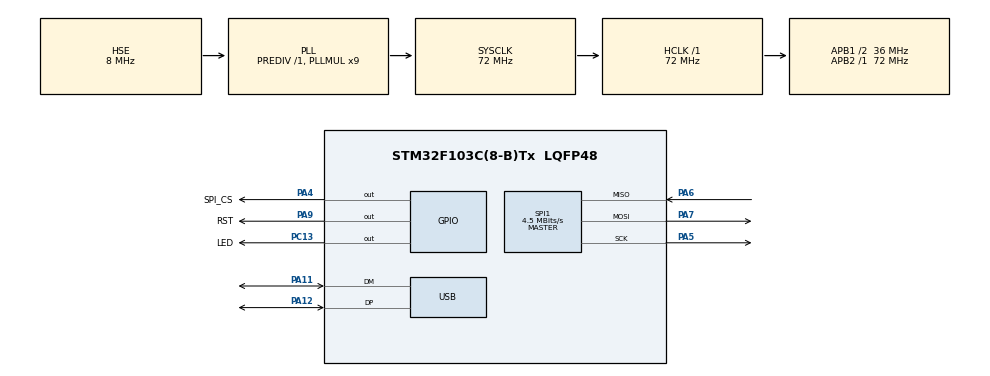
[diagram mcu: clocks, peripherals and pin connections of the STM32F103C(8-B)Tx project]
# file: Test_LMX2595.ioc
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Mcu.Family=STM32F1
Mcu.Name=STM32F103C(8-B)Tx
Mcu.Package=LQFP48
NVIC.PriorityGroup=NVIC_PRIORITYGROUP_4
NVIC.USB_HP_CAN1_TX_IRQn=true\:0\:0\:false\:false\:true\:true\:true\:true
NVIC.USB_LP_CAN1_RX0_IRQn=true\:0\:0\:false\:false\:true\:false\:true\:true
PA11.Mode=Device
PA11.Signal=USB_DM
PA12.Mode=Device
PA12.Signal=USB_DP
PA13.Mode=Serial_Wire
PA13.Signal=SYS_JTMS-SWDIO
PA14.Mode=Serial_Wire
PA14.Signal=SYS_JTCK-SWCLK
PA4.GPIO_Label=SPI_CS
PA4.GPIO_Speed=GPIO_SPEED_FREQ_MEDIUM
PA4.Signal=GPIO_Output
PA5.Mode=Full_Duplex_Master
PA5.Signal=SPI1_SCK
PA6.Mode=Full_Duplex_Master
PA6.Signal=SPI1_MISO
PA7.Mode=Full_Duplex_Master
PA7.Signal=SPI1_MOSI
PA9.GPIO_Label=RST
PA9.GPIO_ModeDefaultOutputPP=GPIO_MODE_OUTPUT_OD
PA9.GPIO_PuPd=GPIO_NOPULL
PA9.Signal=GPIO_Output
PC13-TAMPER-RTC.GPIO_Label=LED
PC13-TAMPER-RTC.Signal=GPIO_Output
PD0-OSC_IN.Mode=HSE-External-Oscillator
PD0-OSC_IN.Signal=RCC_OSC_IN
PD1-OSC_OUT.Mode=HSE-External-Oscillator
PD1-OSC_OUT.Signal=RCC_OSC_OUT
ProjectManager.HeapSize=0x200
ProjectManager.StackSize=0x400
ProjectManager.TargetToolchain=STM32CubeIDE
RCC.AHBFreq_Value=72000000
RCC.APB1CLKDivider=RCC_HCLK_DIV2
RCC.APB1Freq_Value=36000000
RCC.APB1TimFreq_Value=72000000
RCC.APB2Freq_Value=72000000
RCC.APB2TimFreq_Value=72000000
RCC.HCLKFreq_Value=72000000
RCC.PLLMUL=RCC_PLL_MUL9
RCC.SYSCLKFreq_VALUE=72000000
RCC.SYSCLKSource=RCC_SYSCLKSOURCE_PLLCLK
RCC.USBFreq_Value=48000000
RCC.USBPrescaler=RCC_USBCLKSOURCE_PLL_DIV1_5
SPI1.BaudRatePrescaler=SPI_BAUDRATEPRESCALER_16
SPI1.CalculateBaudRate=4.5 MBits/s
SPI1.Direction=SPI_DIRECTION_2LINES
SPI1.Mode=SPI_MODE_MASTER
SPI1.VirtualType=VM_MASTER
USB_DEVICE.CLASS_NAME_FS=CDC
USB_DEVICE.VirtualMode=Cdc
USB_DEVICE.VirtualModeFS=Cdc_FS
VP_USB_DEVICE_VS_USB_DEVICE_CDC_FS.Mode=CDC_FS
board=custom

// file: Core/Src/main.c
/* USER CODE BEGIN Header */
/**
  ******************************************************************************
  * @file           : main.c
  * @brief          : Main program body
  ******************************************************************************
  * @attention
  *
  * <h2><center>&copy; Copyright (c) 2023 STMicroelectronics.
  * All rights reserved.</center></h2>
  *
  * This software component is licensed by ST under BSD 3-Clause license,
  * the "License"; You may not use this file except in compliance with the
  * License. You may obtain a copy of the License at:
  *                        opensource.org/licenses/BSD-3-Clause
  *
  ******************************************************************************
  */
/* USER CODE END Header */
#include "main.h"
#include "usb_device.h"

/* USER CODE BEGIN Includes */
#include <stdlib.h>
#include "usbd_cdc.h"
#include "string.h"
/* USER CODE END Includes */

SPI_HandleTypeDef hspi1;

/* USER CODE BEGIN PV */
uint32_t TX_Data[113] = {
		0x4E0003,   // R78
		0x4D0000,   // R77
		0x4C000C,   // R76
		0x4B0840,   // R75
		0x4A0000,   // R74
		0x49003F,   // R73
		0x480001,   // R72
		0x470081,   // R71
		0x46C350,   // R70
		0x450000,   // R69
		0x4403E8,   // R68
		0x430000,   // R67
		0x4201F4,   // R66
		0x410000,   // R65
		0x401388,   // R64
		0x3F0000,   // R63
		0x3E0322,   // R62
		0x3D00A8,   // R61
		0x3C0000,   // R60
		0x3B0001,   // R59
		0x3A9001,   // R58
		0x390020,   // R57
		0x380000,   // R56
		0x370000,   // R55
		0x360000,   // R54
		0x350000,   // R53
		0x340820,   // R52
		0x330080,   // R51
		0x320000,   // R50
		0x314180,   // R49
		0x300300,   // R48
		0x2F0300,   // R47
		0x2E07FC,   // R46
		0x2DC0DF,   // R45
		0x2C1FA3,   // R44
		0x2B0000,   // R43
		0x2A0000,   // R42
		0x290000,   // R41
		0x280000,   // R40
		0x2703E8,   // R39
		0x260000,   // R38
		0x250404,   // R37
		0x2400C8,   // R36
		0x230004,   // R35
		0x220000,   // R34
		0x211E21,   // R33
		0x200393,   // R32
		0x1F43EC,   // R31
		0x1E318C,   // R30
		0x1D318C,   // R29
		0x1C0488,   // R28
		0x1B0002,   // R27
		0x1A0DB0,   // R26
		0x190C2B,   // R25
		0x18071A,   // R24
		0x17007C,   // R23
		0x160001,   // R22
		0x150401,   // R21
		0x14F848,   // R20
		0x1327B7,   // R19
		0x120064,   // R18
		0x11012C,   // R17
		0x100080,   // R16
		0x0F064F,   // R15
		0x0E1E70,   // R14
		0x0D4000,   // R13
		0x0C5001,   // R12
		0x0B0018,   // R11
		0x0A10D8,   // R10
		0x091604,   // R9
		0x082000,   // R8
		0x0740B2,   // R7
		0x06C802,   // R6
		0x0500C8,   // R5
		0x040A43,   // R4
		0x030642,   // R3
		0x020500,   // R2
		0x010808,   // R1
		(0x00241C & (~4)),   // R0, but 3rd bit must be set to 0, if you want to read registers
};

uint8_t RX_USB_Flag = 0;
uint8_t RxBuffer[100];
/* USER CODE END PV */

void SystemClock_Config(void);
static void MX_GPIO_Init(void);
static void MX_SPI1_Init(void);
/* USER CODE BEGIN PFP */
void User_Delay(uint16_t timeout);
uint16_t LMX_read(uint8_t address);
void LMX_write(uint8_t address, uint16_t data);
/* USER CODE END PFP */

int main(void)
{

  /* MCU Configuration--------------------------------------------------------*/

  /* Reset of all peripherals, Initializes the Flash interface and the Systick. */
  HAL_Init();

  /* Configure the system clock */
  SystemClock_Config();

  /* Initialize all configured peripherals */
  MX_GPIO_Init();
  MX_SPI1_Init();
  MX_USB_DEVICE_Init();
  /* USER CODE BEGIN 2 */
  //HAL_ADCEx_Calibration_Start(&hadc1);
    HAL_GPIO_WritePin(SPI_CS_GPIO_Port, SPI_CS_Pin, GPIO_PIN_SET);			// Forbid communication; CS = 1
    // User_Delay(10);
    HAL_Delay(10);															// Wait 10 ms

    // Init LMX2595
    HAL_GPIO_WritePin(RST_GPIO_Port, RST_Pin, GPIO_PIN_RESET);
    User_Delay(10);
    HAL_GPIO_WritePin(RST_GPIO_Port, RST_Pin, GPIO_PIN_SET);
    User_Delay(10);

    LMX_write(0, 2); 														// Transmit RESET = 1
    HAL_Delay(200);															// Wait 200 ms
    uint16_t check = LMX_read(1);								// Check R0
    LMX_write(0, 0);														// Transmit RESET = 0

    // Initialization
    for(int i = 0; i <= 78; i++) {
    	LMX_write(78 - i, TX_Data[i]);		// Copy registers into LMX2595
    	HAL_Delay(10);					// You may decrease delay
    }
  /* USER CODE END 2 */

  /* Infinite loop */
  /* USER CODE BEGIN WHILE */
  while (1)
  {
	  // WRITE
	  if(RX_USB_Flag == 1) {					// Command received
		  if(RxBuffer[0] == 'R') {				// Check if command is correct
			  int i = 0;						// Cursor
			  int addr = 0;						// Address of the register
			  for(i = 1; ((RxBuffer[i] != '\t') && (RxBuffer[i] != ' ')); i++) {
				  addr *= 10;									// Next digit
				  addr += (int)(RxBuffer[i]) - (int)('0');		// Count digit
			  }
			  i++;												// Next char
			  if ((addr >= 0) && (addr < 113)) {				// Assert register
				  uint16_t data = (uint16_t)strtol((RxBuffer + i), NULL, 0);	// convert HEX-format string to uint16_t
				  LMX_write((uint8_t)addr, data);				// Send command to LMX2595
				  CDC_Transmit_FS("OK\n\r", 4);					// Send OK to the terminal
			  }
			  else {
				  CDC_Transmit_FS("Address isn't correct!\n\r", 24);
			  }
		  }
		  // READ
		  else if ((RxBuffer[0] == 'r') && (RxBuffer[1] == 'R')) {
			  int i = 0;						// Cursor
			  int addr = 0;						// Address of the register
			  for(int i = 2; ((RxBuffer[i] >= '0') && (RxBuffer[i] <= '9')); i++) {
				  addr *= 10;									// Next digit
				  addr += (int)(RxBuffer[i]) - (int)('0');		// Count digit
			  }
			  if ((addr >= 0) && (addr < 113)) {				// Assert register
				  uint16_t answer = LMX_read((uint8_t)addr);	// Send command to LMX2595
				  char string_answer[10];
				  itoa (answer, string_answer, 16);
	//			  CDC_Transmit_FS("0x", 2);										// print 0x
				  CDC_Transmit_FS(string_answer, strlen(string_answer));		// print HEX-format number
	//			  CDC_Transmit_FS("\n\r", 2);									// print terminal simbols
			  }
			  else {
				  CDC_Transmit_FS("Address isn't correct!\n\r", 24);
			  }
		  }
		  // ERROR, give the hint
		  else {
			  CDC_Transmit_FS("Input command in format:\nR...*tab*0x...\n", 40);
			  CDC_Transmit_FS("if you want to write HEX value to the register\n", 47);
			  CDC_Transmit_FS("or in format:\n", 14);
			  CDC_Transmit_FS("rR...\nif you want to read HEX value of the register R...\n", 58);
		  }
		  RX_USB_Flag = 0;						// Null the flag
	  }
  }
    /* USER CODE END WHILE */

}

void SystemClock_Config(void)
{
  RCC_OscInitTypeDef RCC_OscInitStruct = {0};
  RCC_ClkInitTypeDef RCC_ClkInitStruct = {0};
  RCC_PeriphCLKInitTypeDef PeriphClkInit = {0};

  /** Initializes the RCC Oscillators according to the specified parameters
  * in the RCC_OscInitTypeDef structure.
  */
  RCC_OscInitStruct.OscillatorType = RCC_OSCILLATORTYPE_HSE;
  RCC_OscInitStruct.HSEState = RCC_HSE_ON;
  RCC_OscInitStruct.HSEPredivValue = RCC_HSE_PREDIV_DIV1;
  RCC_OscInitStruct.HSIState = RCC_HSI_ON;
  RCC_OscInitStruct.PLL.PLLState = RCC_PLL_ON;
  RCC_OscInitStruct.PLL.PLLSource = RCC_PLLSOURCE_HSE;
  RCC_OscInitStruct.PLL.PLLMUL = RCC_PLL_MUL9;
  if (HAL_RCC_OscConfig(&RCC_OscInitStruct) != HAL_OK)
  {
    Error_Handler();
  }

  /** Initializes the CPU, AHB and APB buses clocks
  */
  RCC_ClkInitStruct.ClockType = RCC_CLOCKTYPE_HCLK|RCC_CLOCKTYPE_SYSCLK
                              |RCC_CLOCKTYPE_PCLK1|RCC_CLOCKTYPE_PCLK2;
  RCC_ClkInitStruct.SYSCLKSource = RCC_SYSCLKSOURCE_PLLCLK;
  RCC_ClkInitStruct.AHBCLKDivider = RCC_SYSCLK_DIV1;
  RCC_ClkInitStruct.APB1CLKDivider = RCC_HCLK_DIV2;
  RCC_ClkInitStruct.APB2CLKDivider = RCC_HCLK_DIV1;

  if (HAL_RCC_ClockConfig(&RCC_ClkInitStruct, FLASH_LATENCY_2) != HAL_OK)
  {
    Error_Handler();
  }
  PeriphClkInit.PeriphClockSelection = RCC_PERIPHCLK_USB;
  PeriphClkInit.UsbClockSelection = RCC_USBCLKSOURCE_PLL_DIV1_5;
  if (HAL_RCCEx_PeriphCLKConfig(&PeriphClkInit) != HAL_OK)
  {
    Error_Handler();
  }
}

static void MX_SPI1_Init(void)
{

  /* SPI1 parameter configuration*/
  hspi1.Instance = SPI1;
  hspi1.Init.Mode = SPI_MODE_MASTER;
  hspi1.Init.Direction = SPI_DIRECTION_2LINES;
  hspi1.Init.DataSize = SPI_DATASIZE_8BIT;
  hspi1.Init.CLKPolarity = SPI_POLARITY_LOW;
  hspi1.Init.CLKPhase = SPI_PHASE_1EDGE;
  hspi1.Init.NSS = SPI_NSS_SOFT;
  hspi1.Init.BaudRatePrescaler = SPI_BAUDRATEPRESCALER_16;
  hspi1.Init.FirstBit = SPI_FIRSTBIT_MSB;
  hspi1.Init.TIMode = SPI_TIMODE_DISABLE;
  hspi1.Init.CRCCalculation = SPI_CRCCALCULATION_DISABLE;
  hspi1.Init.CRCPolynomial = 10;
  if (HAL_SPI_Init(&hspi1) != HAL_OK)
  {
    Error_Handler();
  }

}

static void MX_GPIO_Init(void)
{
  GPIO_InitTypeDef GPIO_InitStruct = {0};

  /* GPIO Ports Clock Enable */
  __HAL_RCC_GPIOC_CLK_ENABLE();
  __HAL_RCC_GPIOD_CLK_ENABLE();
  __HAL_RCC_GPIOA_CLK_ENABLE();

  /*Configure GPIO pin Output Level */
  HAL_GPIO_WritePin(LED_GPIO_Port, LED_Pin, GPIO_PIN_RESET);

  /*Configure GPIO pin Output Level */
  HAL_GPIO_WritePin(GPIOA, SPI_CS_Pin|RST_Pin, GPIO_PIN_RESET);

  /*Configure GPIO pin : LED_Pin */
  GPIO_InitStruct.Pin = LED_Pin;
  GPIO_InitStruct.Mode = GPIO_MODE_OUTPUT_PP;
  GPIO_InitStruct.Pull = GPIO_NOPULL;
  GPIO_InitStruct.Speed = GPIO_SPEED_FREQ_LOW;
  HAL_GPIO_Init(LED_GPIO_Port, &GPIO_InitStruct);

  /*Configure GPIO pin : SPI_CS_Pin */
  GPIO_InitStruct.Pin = SPI_CS_Pin;
  GPIO_InitStruct.Mode = GPIO_MODE_OUTPUT_PP;
  GPIO_InitStruct.Pull = GPIO_NOPULL;
  GPIO_InitStruct.Speed = GPIO_SPEED_FREQ_MEDIUM;
  HAL_GPIO_Init(SPI_CS_GPIO_Port, &GPIO_InitStruct);

  /*Configure GPIO pin : RST_Pin */
  GPIO_InitStruct.Pin = RST_Pin;
  GPIO_InitStruct.Mode = GPIO_MODE_OUTPUT_OD;
  GPIO_InitStruct.Pull = GPIO_NOPULL;
  GPIO_InitStruct.Speed = GPIO_SPEED_FREQ_LOW;
  HAL_GPIO_Init(RST_GPIO_Port, &GPIO_InitStruct);

}

/* USER CODE BEGIN 4 */
void User_Delay(uint16_t timeout){
	for(uint32_t t = 0;t<=timeout*3600;t++);
}

void LMX_write(uint8_t address, uint16_t data) {
	uint8_t send_it[3] = {address, (uint8_t)(data >> 8), (uint8_t)(data)};				// send command to write data
	HAL_GPIO_WritePin(SPI_CS_GPIO_Port, SPI_CS_Pin, GPIO_PIN_RESET);					// Enable communication; CS = 0
	HAL_SPI_Transmit(&hspi1, send_it, 3, 5000);
	HAL_GPIO_WritePin(SPI_CS_GPIO_Port, SPI_CS_Pin, GPIO_PIN_SET);						// Forbid communication; CS = 1
}

uint16_t LMX_read(uint8_t address) {
	uint8_t send_it[3] = {(address | 1 << 7), 0, 0};
	uint8_t data[3] = {0, 0, 0};
	HAL_GPIO_WritePin(SPI_CS_GPIO_Port, SPI_CS_Pin, GPIO_PIN_RESET);					// Enable communication; CS = 0
	HAL_SPI_TransmitReceive(&hspi1, send_it, data, 3, 5000);
	HAL_GPIO_WritePin(SPI_CS_GPIO_Port, SPI_CS_Pin, GPIO_PIN_SET);						// Forbid communication; CS = 1
	uint16_t returned_num = data[1];													// MSB, so [0] - is the second byte
	returned_num = returned_num << 8;
	returned_num += data[2];
	return(returned_num);
}
/* USER CODE END 4 */

void Error_Handler(void)
{
  __disable_irq();
  while (1)
  {
  }
}
